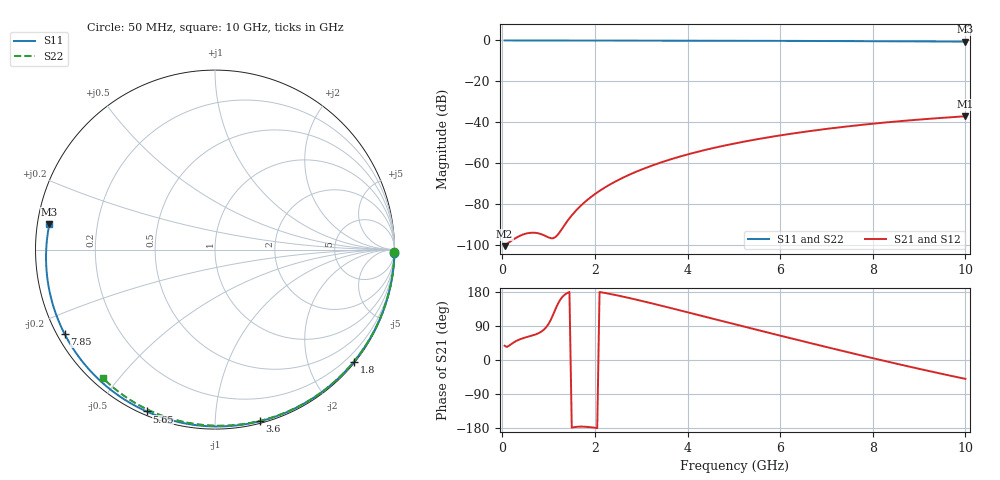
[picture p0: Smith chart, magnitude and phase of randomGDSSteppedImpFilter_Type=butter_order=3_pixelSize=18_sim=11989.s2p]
! freq	dB(S11)	phase(S11)	dB(S12)	phase(S12)
!  dB(S21)	phase(S21)	dB(S22)	phase(S22)
!S-par simulation data
#  GHz  S  DB  R 50
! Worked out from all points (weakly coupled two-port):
!   200 points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, 50 MHz to 10 GHz, reference 50 ohm
!   highest |S21| = -37.14 dB at 10 GHz (marker M1); lowest = -100.8 dB at 50 MHz (marker M2)
!   lowest |S11| = -0.6 dB at 10 GHz (marker M3), VSWR 29.16, Z = 1.72 + j3.78 ohm
!   |S11| at or under -10 dB: nowhere
!   |S22| runs from -0.4 to 0.0 dB; largest |S21 - S12| = 0
!   S11 on the Smith chart (normalised r, x): 50 MHz: open; 1.8 GHz: 0.03, -2.83; 3.6 GHz: 0.02, -1.30; 5.65 GHz: 0.02, -0.66; 7.85 GHz: 0.02, -0.26; 10 GHz: 0.03, +0.08
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0.05  -0.00 -1.1  -100.78 37.6  -100.78 37.6  -0.00 -0.8
0.45  -0.01 -9.9  -95.05 57.6  -95.05 57.6  -0.01 -6.8
0.85  -0.02 -18.6  -94.97 75.5  -94.97 75.5  -0.02 -12.8
1.3  -0.04 -28.3  -91.91 166.8  -91.91 166.8  -0.02 -19.5
1.7  -0.05 -36.8  -80.85 -175.8  -80.85 -175.8  -0.03 -25.4
1.75  -0.05 -37.9  -79.80 -175.9  -79.80 -175.9  -0.03 -26.1
1.8  -0.05 -38.9  -78.81 -176.2  -78.81 -176.2  -0.03 -26.9
2.1  -0.06 -45.2  -73.70 179.4  -73.70 179.4  -0.04 -31.2
2.5  -0.07 -53.4  -68.42 170.1  -68.42 170.1  -0.05 -37.0
2.9  -0.08 -61.5  -64.22 159.1  -64.22 159.1  -0.06 -42.7
3.4  -0.09 -71.4  -59.96 144.3  -59.96 144.3  -0.07 -49.8
3.6  -0.10 -75.3  -58.49 138.3  -58.49 138.3  -0.07 -52.5
4.3  -0.12 -88.5  -54.08 116.7  -54.08 116.7  -0.09 -62.1
5.05  -0.16 -102.2  -50.32 93.4  -50.32 93.4  -0.11 -72.0
5.65  -0.19 -112.9  -47.81 75.0  -47.81 75.0  -0.13 -79.8
6.15  -0.22 -121.6  -45.99 59.8  -45.99 59.8  -0.15 -86.0
6.7  -0.25 -131.0  -44.21 43.2  -44.21 43.2  -0.18 -92.8
7.3  -0.30 -141.2  -42.51 25.3  -42.51 25.3  -0.21 -100.1
7.85  -0.35 -150.6  -41.13 9.2  -41.13 9.2  -0.25 -106.6
8.35  -0.40 -159.2  -40.02 -5.2  -40.02 -5.2  -0.29 -112.4
9.2  -0.49 -174.1  -38.41 -28.8  -38.41 -28.8  -0.36 -122.1
10  -0.60 171.3  -37.14 -49.8  -37.14 -49.8  -0.45 -131.1
